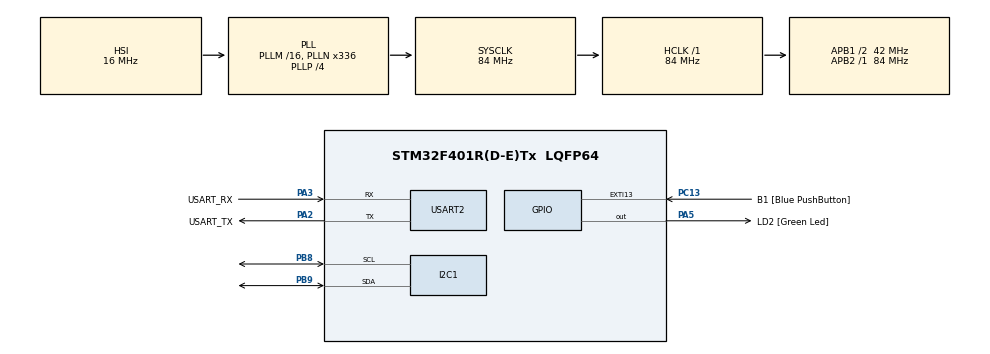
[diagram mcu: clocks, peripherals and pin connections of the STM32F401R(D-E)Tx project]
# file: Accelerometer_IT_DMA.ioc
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Dma.Request0=USART2_TX
Dma.USART2_TX.0.Direction=DMA_MEMORY_TO_PERIPH
Dma.USART2_TX.0.FIFOMode=DMA_FIFOMODE_DISABLE
Dma.USART2_TX.0.Instance=DMA1_Stream6
Dma.USART2_TX.0.MemDataAlignment=DMA_MDATAALIGN_BYTE
Dma.USART2_TX.0.MemInc=DMA_MINC_ENABLE
Dma.USART2_TX.0.Mode=DMA_NORMAL
Dma.USART2_TX.0.PeriphDataAlignment=DMA_PDATAALIGN_BYTE
Dma.USART2_TX.0.PeriphInc=DMA_PINC_DISABLE
Dma.USART2_TX.0.Priority=DMA_PRIORITY_LOW
Mcu.Family=STM32F4
Mcu.Name=STM32F401R(D-E)Tx
Mcu.Package=LQFP64
NVIC.DMA1_Stream6_IRQn=true\:0\:0\:false\:false\:true\:false\:true
NVIC.PriorityGroup=NVIC_PRIORITYGROUP_0
NVIC.TIM2_IRQn=true\:0\:0\:false\:false\:true\:true\:true
NVIC.USART2_IRQn=true\:0\:0\:false\:false\:true\:true\:true
PA13.GPIO_Label=TMS
PA13.Mode=Serial_Wire
PA13.Signal=SYS_JTMS-SWDIO
PA14.GPIO_Label=TCK
PA14.Mode=Serial_Wire
PA14.Signal=SYS_JTCK-SWCLK
PA2.GPIO_Label=USART_TX
PA2.GPIO_Mode=GPIO_MODE_AF_PP
PA2.GPIO_PuPd=GPIO_NOPULL
PA2.GPIO_Speed=GPIO_SPEED_FREQ_LOW
PA2.Mode=Asynchronous
PA2.Signal=USART2_TX
PA3.GPIO_Label=USART_RX
PA3.GPIO_Mode=GPIO_MODE_AF_PP
PA3.GPIO_PuPd=GPIO_NOPULL
PA3.GPIO_Speed=GPIO_SPEED_FREQ_LOW
PA3.Mode=Asynchronous
PA3.Signal=USART2_RX
PA5.GPIO_Label=LD2 [Green Led]
PA5.GPIO_Mode=GPIO_MODE_OUTPUT_PP
PA5.GPIO_PuPd=GPIO_NOPULL
PA5.GPIO_Speed=GPIO_SPEED_FREQ_LOW
PA5.Signal=GPIO_Output
PB3.GPIO_Label=SWO
PB3.Signal=SYS_JTDO-SWO
PB8.Mode=I2C
PB8.Signal=I2C1_SCL
PB9.Mode=I2C
PB9.Signal=I2C1_SDA
PC13-ANTI_TAMP.GPIO_Label=B1 [Blue PushButton]
PC13-ANTI_TAMP.GPIO_ModeDefaultEXTI=GPIO_MODE_IT_FALLING
PC13-ANTI_TAMP.GPIO_PuPd=GPIO_NOPULL
PC13-ANTI_TAMP.Signal=GPXTI13
PC14-OSC32_IN.Mode=LSE-External-Oscillator
PC14-OSC32_IN.Signal=RCC_OSC32_IN
PC15-OSC32_OUT.Mode=LSE-External-Oscillator
PC15-OSC32_OUT.Signal=RCC_OSC32_OUT
PH0\ -\ OSC_IN.Mode=HSE-External-Clock-Source
PH0\ -\ OSC_IN.Signal=RCC_OSC_IN
PH1\ -\ OSC_OUT.Mode=HSE-External-Clock-Source
PH1\ -\ OSC_OUT.Signal=RCC_OSC_OUT
ProjectManager.HeapSize=0x200
ProjectManager.StackSize=0x400
ProjectManager.TargetToolchain=STM32CubeIDE
RCC.48MHZClocksFreq_Value=48000000
RCC.AHBFreq_Value=84000000
RCC.APB1CLKDivider=RCC_HCLK_DIV2
RCC.APB1Freq_Value=42000000
RCC.APB1TimFreq_Value=84000000
RCC.APB2Freq_Value=84000000
RCC.APB2TimFreq_Value=84000000
RCC.CortexFreq_Value=84000000
RCC.HCLKFreq_Value=84000000
RCC.HSE_VALUE=8000000
RCC.HSI_VALUE=16000000
RCC.PLLN=336
RCC.PLLP=RCC_PLLP_DIV4
RCC.PLLQ=7
RCC.SYSCLKFreq_VALUE=84000000
RCC.SYSCLKSource=RCC_SYSCLKSOURCE_PLLCLK
RCC.VCOOutputFreq_Value=336000000
TIM2.Period=10000 - 1
TIM2.Prescaler=8400 - 1
USART2.VirtualMode=VM_ASYNC
VP_TIM2_VS_ClockSourceINT.Mode=Internal
board=NUCLEO-F401RE

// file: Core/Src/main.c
/* USER CODE BEGIN Header */
/**
  ******************************************************************************
  * @file           : main.c
  * @brief          : Main program body
  ******************************************************************************
  * @attention
  *
  * <h2><center>&copy; Copyright (c) 2021 STMicroelectronics.
  * All rights reserved.</center></h2>
  *
  * This software component is licensed by ST under BSD 3-Clause license,
  * the "License"; You may not use this file except in compliance with the
  * License. You may obtain a copy of the License at:
  *                        opensource.org/licenses/BSD-3-Clause
  *
  ******************************************************************************
  */
/* USER CODE END Header */
#include "main.h"

I2C_HandleTypeDef hi2c1;

TIM_HandleTypeDef htim2;

UART_HandleTypeDef huart2;
DMA_HandleTypeDef hdma_usart2_tx;

/* USER CODE BEGIN PV */
uint8_t LIS2DE_ADDR = 0b01010000;
uint8_t LIS2DE12_ADDR = 0b00110000;
uint8_t ACC_ADDR = 0;

/*
 * AAAABCCC
 * AAAA: Data Rate Selection
 * B: Low Power Enable
 * C: XYZ Axis Enable
 */
uint8_t CTRL_REG1[] = {0x20, 0b00010111}; //1Hz, no low power, all three axis enabled
uint8_t CTRL_REG2[] = {0x21, 0b00000000};
uint8_t CTRL_REG4[]  ={0x23, 0b00000000};

uint8_t OUT_X_ADDR = 0x29;
uint8_t OUT_Y_ADDR = 0x2B;
uint8_t OUT_Z_ADDR = 0x2D;
/* USER CODE END PV */

void SystemClock_Config(void);
static void MX_GPIO_Init(void);
static void MX_USART2_UART_Init(void);
static void MX_DMA_Init(void);
static void MX_TIM2_Init(void);
static void MX_I2C1_Init(void);

/* USER CODE BEGIN 0 */
void HAL_TIM_PeriodElapsedCallback(TIM_HandleTypeDef *htim)
{
	if (htim == &htim2){
		int8_t acc_x = 0;
		HAL_I2C_Master_Transmit(&hi2c1, ACC_ADDR + 0, &OUT_X_ADDR, 1, 50);
		HAL_I2C_Master_Receive(&hi2c1, ACC_ADDR + 1, &acc_x, 1, 50);

		int8_t acc_y = 0;
		HAL_I2C_Master_Transmit(&hi2c1, ACC_ADDR + 0, &OUT_Y_ADDR, 1, 50);
		HAL_I2C_Master_Receive(&hi2c1, ACC_ADDR + 1, &acc_y, 1, 50);

		int8_t acc_z = 0;
		HAL_I2C_Master_Transmit(&hi2c1, ACC_ADDR + 0, &OUT_Z_ADDR, 1, 50);
		HAL_I2C_Master_Receive(&hi2c1, ACC_ADDR + 1, &acc_z, 1, 50);
		/*
		 * FSR = +-2g = 4g
		 * We have a mapping into 8 bit numbers, so LSB = 4g/256
		 */
		float acc_g_x = acc_x / 64.0;
		float acc_g_y = acc_y / 64.0;
		float acc_g_z = acc_z / 64.0;
		uint8_t buffer[50];
		uint8_t buflen = snprintf(buffer, sizeof(buffer), "DMA\r\nX: %+.2f g\r\nY: %+.2f g\r\nZ: %+.2f g\r\n\r\n", acc_g_x, acc_g_y, acc_g_z);
		HAL_UART_Transmit_DMA(&huart2, buffer, buflen);
	}

}
/* USER CODE END 0 */

int main(void)
{

  /* MCU Configuration--------------------------------------------------------*/

  /* Reset of all peripherals, Initializes the Flash interface and the Systick. */
  HAL_Init();

  /* Configure the system clock */
  SystemClock_Config();

  /* USER CODE BEGIN SysInit */
  MX_DMA_Init();
  /* USER CODE END SysInit */

  /* Initialize all configured peripherals */
  MX_GPIO_Init();
  MX_USART2_UART_Init();

  MX_TIM2_Init();
  MX_I2C1_Init();
  /* USER CODE BEGIN 2 */
  char buffer[50];
  int buflen = 0;

  if(HAL_I2C_Master_Transmit(&hi2c1, LIS2DE_ADDR + 0, CTRL_REG1, sizeof(CTRL_REG1), 50) == HAL_OK){
	  buflen = snprintf(buffer, sizeof(buffer), "LISDE found!\r\n");
	  ACC_ADDR = LIS2DE_ADDR;
  }
  else{
	  if(HAL_I2C_Master_Transmit(&hi2c1, LIS2DE12_ADDR + 0, CTRL_REG1, sizeof(CTRL_REG1), 50) == HAL_OK){
		  buflen = snprintf(buffer, sizeof(buffer), "LISDE12 found!\r\n");
		  ACC_ADDR = LIS2DE12_ADDR;
	  }
	  else{
		  buflen = snprintf(buffer, sizeof(buffer), "Error: accelerometer NOT found!\r\n");
	  }
  }

  HAL_UART_Transmit(&huart2, buffer, buflen, 100);

  HAL_I2C_Master_Transmit(&hi2c1, ACC_ADDR + 0, CTRL_REG2, sizeof(CTRL_REG2), 50);
  HAL_I2C_Master_Transmit(&hi2c1, ACC_ADDR + 0, CTRL_REG4, sizeof(CTRL_REG4), 50);

  HAL_TIM_Base_Start_IT(&htim2);
  /* USER CODE END 2 */

  /* Infinite loop */
  while (1)
  {

  }
}

void SystemClock_Config(void)
{
  RCC_OscInitTypeDef RCC_OscInitStruct = {0};
  RCC_ClkInitTypeDef RCC_ClkInitStruct = {0};

  /** Configure the main internal regulator output voltage
  */
  __HAL_RCC_PWR_CLK_ENABLE();
  __HAL_PWR_VOLTAGESCALING_CONFIG(PWR_REGULATOR_VOLTAGE_SCALE2);
  /** Initializes the RCC Oscillators according to the specified parameters
  * in the RCC_OscInitTypeDef structure.
  */
  RCC_OscInitStruct.OscillatorType = RCC_OSCILLATORTYPE_HSI;
  RCC_OscInitStruct.HSIState = RCC_HSI_ON;
  RCC_OscInitStruct.HSICalibrationValue = RCC_HSICALIBRATION_DEFAULT;
  RCC_OscInitStruct.PLL.PLLState = RCC_PLL_ON;
  RCC_OscInitStruct.PLL.PLLSource = RCC_PLLSOURCE_HSI;
  RCC_OscInitStruct.PLL.PLLM = 16;
  RCC_OscInitStruct.PLL.PLLN = 336;
  RCC_OscInitStruct.PLL.PLLP = RCC_PLLP_DIV4;
  RCC_OscInitStruct.PLL.PLLQ = 7;
  if (HAL_RCC_OscConfig(&RCC_OscInitStruct) != HAL_OK)
  {
    Error_Handler();
  }
  /** Initializes the CPU, AHB and APB buses clocks
  */
  RCC_ClkInitStruct.ClockType = RCC_CLOCKTYPE_HCLK|RCC_CLOCKTYPE_SYSCLK
                              |RCC_CLOCKTYPE_PCLK1|RCC_CLOCKTYPE_PCLK2;
  RCC_ClkInitStruct.SYSCLKSource = RCC_SYSCLKSOURCE_PLLCLK;
  RCC_ClkInitStruct.AHBCLKDivider = RCC_SYSCLK_DIV1;
  RCC_ClkInitStruct.APB1CLKDivider = RCC_HCLK_DIV2;
  RCC_ClkInitStruct.APB2CLKDivider = RCC_HCLK_DIV1;

  if (HAL_RCC_ClockConfig(&RCC_ClkInitStruct, FLASH_LATENCY_2) != HAL_OK)
  {
    Error_Handler();
  }
}

static void MX_I2C1_Init(void)
{

  hi2c1.Instance = I2C1;
  hi2c1.Init.ClockSpeed = 100000;
  hi2c1.Init.DutyCycle = I2C_DUTYCYCLE_2;
  hi2c1.Init.OwnAddress1 = 0;
  hi2c1.Init.AddressingMode = I2C_ADDRESSINGMODE_7BIT;
  hi2c1.Init.DualAddressMode = I2C_DUALADDRESS_DISABLE;
  hi2c1.Init.OwnAddress2 = 0;
  hi2c1.Init.GeneralCallMode = I2C_GENERALCALL_DISABLE;
  hi2c1.Init.NoStretchMode = I2C_NOSTRETCH_DISABLE;
  if (HAL_I2C_Init(&hi2c1) != HAL_OK)
  {
    Error_Handler();
  }

}

static void MX_TIM2_Init(void)
{

  TIM_ClockConfigTypeDef sClockSourceConfig = {0};
  TIM_MasterConfigTypeDef sMasterConfig = {0};

  htim2.Instance = TIM2;
  htim2.Init.Prescaler = 8400 - 1;
  htim2.Init.CounterMode = TIM_COUNTERMODE_UP;
  htim2.Init.Period = 10000 - 1;
  htim2.Init.ClockDivision = TIM_CLOCKDIVISION_DIV1;
  htim2.Init.AutoReloadPreload = TIM_AUTORELOAD_PRELOAD_DISABLE;
  if (HAL_TIM_Base_Init(&htim2) != HAL_OK)
  {
    Error_Handler();
  }
  sClockSourceConfig.ClockSource = TIM_CLOCKSOURCE_INTERNAL;
  if (HAL_TIM_ConfigClockSource(&htim2, &sClockSourceConfig) != HAL_OK)
  {
    Error_Handler();
  }
  sMasterConfig.MasterOutputTrigger = TIM_TRGO_RESET;
  sMasterConfig.MasterSlaveMode = TIM_MASTERSLAVEMODE_DISABLE;
  if (HAL_TIMEx_MasterConfigSynchronization(&htim2, &sMasterConfig) != HAL_OK)
  {
    Error_Handler();
  }

}

static void MX_USART2_UART_Init(void)
{

  huart2.Instance = USART2;
  huart2.Init.BaudRate = 115200;
  huart2.Init.WordLength = UART_WORDLENGTH_8B;
  huart2.Init.StopBits = UART_STOPBITS_1;
  huart2.Init.Parity = UART_PARITY_NONE;
  huart2.Init.Mode = UART_MODE_TX_RX;
  huart2.Init.HwFlowCtl = UART_HWCONTROL_NONE;
  huart2.Init.OverSampling = UART_OVERSAMPLING_16;
  if (HAL_UART_Init(&huart2) != HAL_OK)
  {
    Error_Handler();
  }

}

static void MX_DMA_Init(void)
{

  /* DMA controller clock enable */
  __HAL_RCC_DMA1_CLK_ENABLE();

  /* DMA interrupt init */
  /* DMA1_Stream6_IRQn interrupt configuration */
  HAL_NVIC_SetPriority(DMA1_Stream6_IRQn, 0, 0);
  HAL_NVIC_EnableIRQ(DMA1_Stream6_IRQn);

}

static void MX_GPIO_Init(void)
{
  GPIO_InitTypeDef GPIO_InitStruct = {0};

  /* GPIO Ports Clock Enable */
  __HAL_RCC_GPIOC_CLK_ENABLE();
  __HAL_RCC_GPIOH_CLK_ENABLE();
  __HAL_RCC_GPIOA_CLK_ENABLE();
  __HAL_RCC_GPIOB_CLK_ENABLE();

  /*Configure GPIO pin Output Level */
  HAL_GPIO_WritePin(LD2_GPIO_Port, LD2_Pin, GPIO_PIN_RESET);

  /*Configure GPIO pin : B1_Pin */
  GPIO_InitStruct.Pin = B1_Pin;
  GPIO_InitStruct.Mode = GPIO_MODE_IT_FALLING;
  GPIO_InitStruct.Pull = GPIO_NOPULL;
  HAL_GPIO_Init(B1_GPIO_Port, &GPIO_InitStruct);

  /*Configure GPIO pin : LD2_Pin */
  GPIO_InitStruct.Pin = LD2_Pin;
  GPIO_InitStruct.Mode = GPIO_MODE_OUTPUT_PP;
  GPIO_InitStruct.Pull = GPIO_NOPULL;
  GPIO_InitStruct.Speed = GPIO_SPEED_FREQ_LOW;
  HAL_GPIO_Init(LD2_GPIO_Port, &GPIO_InitStruct);

}

void Error_Handler(void)
{
  __disable_irq();
  while (1)
  {
  }
}

/************************ (C) COPYRIGHT STMicroelectronics *****END OF FILE****/
